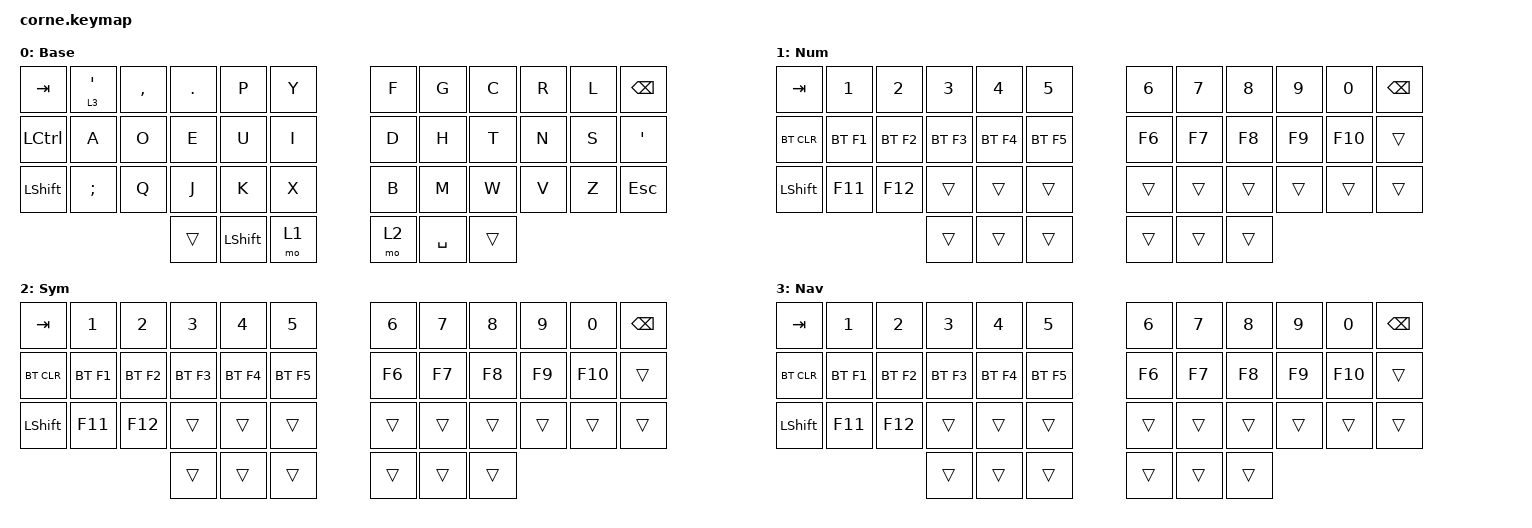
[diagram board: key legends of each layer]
/*
 * Copyright (c) 2020 The ZMK Contributors
 *
 * SPDX-License-Identifier: MIT
 */

#include <behaviors.dtsi>
#include <dt-bindings/zmk/keys.h>
#include <dt-bindings/zmk/bt.h>

/ {
        keymap {
                compatible = "zmk,keymap";

                default_layer {
                        label = "Base";
                        bindings = <
   &kp TAB    &lt 3 SQT &kp COMMA  &kp DOT  &kp P  &kp Y    &kp F  &kp G  &kp C  &kp R  &kp L  &kp BSPC
   &kp LCTRL  &kp A     &kp O      &kp E    &kp U  &kp I    &kp D  &kp H  &kp T  &kp N  &kp S  &kp SQT
   &kp LSHFT  &kp SEMI  &kp Q      &kp J    &kp K  &kp X    &kp B  &kp M  &kp W  &kp V  &kp Z  &kp ESC
                                &trans  &kp LSHFT  &mo 1    &mo 2  &kp SPACE &trans
                        >;
                };

                num_layer {
                        label = "Num";
                        bindings = <
   &kp TAB     &kp N1   &kp N2   &kp N3  &kp N4  &kp N5    &kp N6  &kp N7  &kp N8  &kp N9  &kp N0   &kp BSPC
   &bt BT_CLR  &bt F1   &bt F2   &bt F3  &bt F4  &bt F5    &kp F6  &kp F7  &kp F8  &kp F9  &kp F10  &trans
   &kp LSHFT   &kp F11  &kp F12  &trans  &trans  &trans    &trans  &trans  &trans  &trans  &trans   &trans
                                 &trans  &trans  &trans    &trans  &trans  &trans
                        >;
                };

                sym_layer {
                        label = "Sym";
                        bindings = <
   &kp TAB     &kp N1   &kp N2   &kp N3  &kp N4  &kp N5    &kp N6  &kp N7  &kp N8  &kp N9  &kp N0   &kp BSPC
   &bt BT_CLR  &bt F1   &bt F2   &bt F3  &bt F4  &bt F5    &kp F6  &kp F7  &kp F8  &kp F9  &kp F10  &trans
   &kp LSHFT   &kp F11  &kp F12  &trans  &trans  &trans    &trans  &trans  &trans  &trans  &trans   &trans
                                 &trans  &trans  &trans    &trans  &trans  &trans
                        >;
                };

                nav_layer {
                        label = "Nav";
                        bindings = <
   &kp TAB     &kp N1   &kp N2   &kp N3  &kp N4  &kp N5    &kp N6  &kp N7  &kp N8  &kp N9  &kp N0   &kp BSPC
   &bt BT_CLR  &bt F1   &bt F2   &bt F3  &bt F4  &bt F5    &kp F6  &kp F7  &kp F8  &kp F9  &kp F10  &trans
   &kp LSHFT   &kp F11  &kp F12  &trans  &trans  &trans    &trans  &trans  &trans  &trans  &trans   &trans
                                 &trans  &trans  &trans    &trans  &trans  &trans
                        >;
                };
        };
};

/*
  [NAV] = KEYMAP_STACKED
  (
       ___    ,Key_LeftGui  ,___          ,___                ,___ 
      ,___    ,Key_LeftAlt ,Key_LeftShift ,Key_LeftControl    ,___
      ,___    ,___         ,___           ,___                ,___    ,___
      ,___    ,___         ,___           ,___                ,___    ,___

              ,Key_Delete ,Key_PageUp    ,Key_UpArrow   ,Key_PageDown   ,Key_Backspace 
              ,Key_Escape ,Key_LeftArrow ,Key_DownArrow ,Key_RightArrow ,XXX
      ,___    ,___        ,Key_Home      ,___           ,Key_End        ,Key_Pause
      ,___    ,___        ,___           ,___           ,___            ,___
  ),
*/
